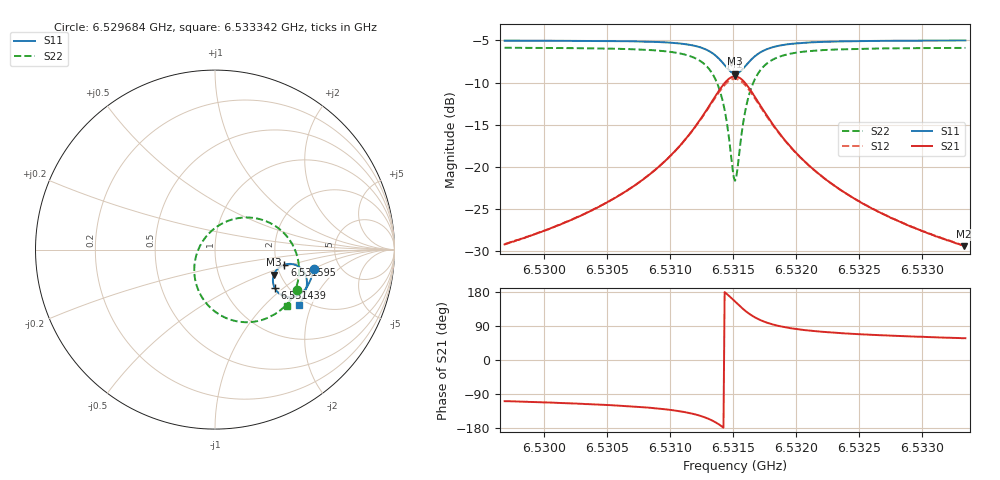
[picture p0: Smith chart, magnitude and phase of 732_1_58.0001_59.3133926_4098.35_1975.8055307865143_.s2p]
#  HZ  S  RI  R  50.00
! Rohde & Schwarz Vector Network Analyzer
! Rohde-Schwarz,ZNB20-2Port,1311601062101988,3.16
! Created: UTC 3/21/2024, 1:23:07 AM
! freq[Hz]  re:S11  im:S11  re:S21  im:S21  re:S12  im:S12  re:S22  im:S22
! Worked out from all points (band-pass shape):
!   401 points, 6.529684 GHz to 6.533342 GHz, reference 50 ohm
!   highest |S21| = -9.27 dB at 6.531513 GHz (marker M1); lowest = -29.4 dB at 6.533332 GHz (marker M2)
!   |S21| within 3 dB of the highest: 6.531329 GHz to 6.531695 GHz (365.9 kHz wide, 0.0056 % of centre)
!   lowest |S11| = -8.9 dB at 6.531513 GHz (marker M3), VSWR 2.11, Z = 92.8 - j29.7 ohm
!   |S11| at or under -10 dB: nowhere
!   |S22| runs from -21.6 to -5.9 dB; largest |S21 - S12| = 0.015
!   S11 on the Smith chart (normalised r, x): 6.529684 GHz: 3.21, -0.99; 6.531439 GHz: 1.72, -0.87; 6.531595 GHz: 2.20, -0.44; 6.533342 GHz: 1.81, -1.64
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6.5296837e9  0.55 -0.1054  -0.0111 -0.0329  -0.0119 -0.0327  0.4561 -0.2236
6.5302964e9  0.5362 -0.1574  -0.0223 -0.0466  -0.0236 -0.0462  0.4192 -0.2817
6.5306439e9  0.522 -0.1911  -0.0373 -0.0611  -0.039 -0.06  0.3804 -0.3238
6.5309091e9  0.5029 -0.2213  -0.0622 -0.0789  -0.0647 -0.0771  0.3248 -0.3649
6.5311286e9  0.4699 -0.2506  -0.1111 -0.0987  -0.1143 -0.0944  0.2271 -0.4004
6.531284e9  0.4183 -0.2657  -0.1917 -0.0987  -0.1936 -0.0902  0.0819 -0.3889
6.5313755e9  0.3672 -0.2516  -0.2696 -0.0579  -0.2669 -0.0461  -0.0442 -0.3041
6.5314121e9  0.3454 -0.2331  -0.3012 -0.0201  -0.2948 -0.00821  -0.0892 -0.2342
6.5314395e9  0.3319 -0.2127  -0.3193 0.019  -0.3098 0.0297  -0.1109 -0.1659
6.5314944e9  0.3237 -0.1585  -0.322 0.116  -0.3084 0.1213  -0.0958 -0.00642
6.5315127e9  0.3286 -0.1395  -0.31 0.1488  -0.2961 0.1516  -0.0699 0.0444
6.5315309e9  0.3373 -0.1222  -0.2917 0.1787  -0.2784 0.179  -0.0347 0.0891
6.531595e9  0.387 -0.0839  -0.1999 0.2414  -0.1914 0.2368  0.1267 0.1749
6.5316315e9  0.4174 -0.0796  -0.1466 0.2479  -0.141 0.243  0.2159 0.1764
6.5316681e9  0.4433 -0.0837  -0.1023 0.241  -0.0988 0.2368  0.2887 0.1564
6.5317779e9  0.4892 -0.1152  -0.0247 0.1936  -0.0231 0.1915  0.4124 0.0586
6.5319059e9  0.5077 -0.1509  0.00835 0.1444  0.00964 0.1437  0.4583 -0.038
6.5321254e9  0.5119 -0.1938  0.0224 0.0955  0.0235 0.0951  0.4675 -0.1379
6.5323906e9  0.5057 -0.2285  0.0239 0.0657  0.0247 0.0654  0.4548 -0.2044
6.5327381e9  0.4934 -0.2623  0.0219 0.0457  0.0227 0.0452  0.4338 -0.2566
6.5333325e9  0.4692 -0.3083  0.0181 0.0287  0.0189 0.0285  0.399 -0.3133
6.5333416e9  0.4688 -0.309  0.0183 0.0287  0.019 0.0283  0.3984 -0.3139
